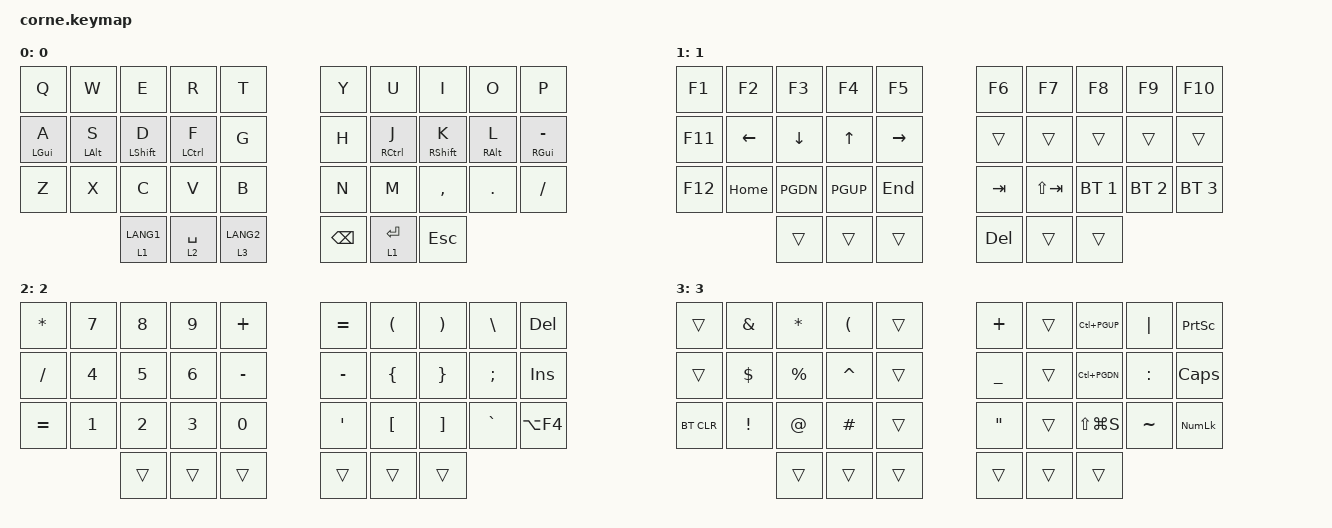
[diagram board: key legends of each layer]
/*
 * Copyright (c) 2020 The ZMK Contributors
 *
 * SPDX-License-Identifier: MIT
 */

#include <behaviors.dtsi>
#include <dt-bindings/zmk/keys.h>
#include <dt-bindings/zmk/bt.h>

/ {
    chosen {
        zmk,physical-layout = &foostan_corne_5col_layout;
    };

    behaviors {
    };
        keymap {
                compatible = "zmk,keymap";

                layer0 {
// -----------------------------------------------------------------------------------------
// | Q       | W       | E         | R        | T |     | Y | U        | I         | O       | P        |
// | A(LGUI) | S(LALT) | D(LSHIFT) | F(LCTRL) | G |     | H | J(RCTRL) | K(RSHIFT) | L(RALT) | -_(RGUI) | 
// | Z       | X       | C         | V        | B |     | N | M        | ,<        | .>      | /?       |
//  | LANG1(LAYER0) | SPC(LAYER1) | LANG2(LAYER3) |     | BSPC | ENTER(LAYER1) | ESC |
                        display-name = "0";
                        bindings = <
   &kp Q      &kp W      &kp E        &kp R       &kp T     &kp Y &kp U       &kp I        &kp O      &kp P
   &mt LGUI A &mt LALT S &mt LSHIFT D &mt LCTRL F &kp G     &kp H &mt RCTRL J &mt RSHIFT K &mt RALT L &mt RGUI MINUS
   &kp Z      &kp X      &kp C        &kp V       &kp B     &kp N &kp M       &kp COMMA    &kp DOT    &kp FSLH
                      &lt 1 LANG1 &lt 2 SPC &lt 3 LANG2     &kp BSPC &lt 1 ENTER &kp ESC
                        >;
                };

                layer1 {
// -----------------------------------------------------------------------------------------
// | F1  | F2   | F3     | F4   | F5    |     | F6   | F7    | F8   | F9   | F10  |
// | F11 | LEFT | DOWN   | UP   | RIGHT |     |      |       |      |      |      |
// | F12 | HOME | PGDN   | PGUP | END   |     | TAB  | S-TAB | BT_1 | BT_2 | BT_3 |
//              |        |      |       |     | DEL  |       |      |
                        display-name = "1";
                        bindings = <
   &kp F1  &kp F2   &kp F3     &kp F4   &kp F5           &kp F6    &kp F7       &kp F8       &kp F9       &kp F10
   &kp F11 &kp LEFT &kp DOWN   &kp UP   &kp RIGHT        &trans    &trans       &trans       &trans       &trans
   &kp F12 &kp HOME &kp PGDN   &kp PGUP &kp END          &kp TAB   &kp LS(TAB)  &bt BT_SEL 1 &bt BT_SEL 2 &bt BT_SEL 3
                           &trans &trans &trans          &kp DEL &trans &trans
                        >;
                };

                layer2 {
// -----------------------------------------------------------------------------------------
// | * | 7 | 8 | 9 | + |     | = | ( | ) | \ | DEL  |
// | / | 4 | 5 | 6 | - |     | - | { | } | ; | INS  |
// | = | 1 | 2 | 3 | 0 |     | ' | [ | ] | ` | A-F4 |
//         |   |   |   |     |   |   |   |
                        display-name = "2";
                        bindings = <
   &kp STAR  &kp 7 &kp 8 &kp 9 &kp PLUS       &kp EQUAL &kp LPAR &kp RPAR &kp BSLH  &kp DEL
   &kp FSLH  &kp 4 &kp 5 &kp 6 &kp MINUS      &kp MINUS &kp LBRC &kp RBRC &kp SEMI  &kp INS
   &kp EQUAL &kp 1 &kp 2 &kp 3 &kp 0          &kp SQT   &kp LBKT &kp RBKT &kp GRAVE &kp LA(F4)
                 &trans &trans &trans         &trans &trans &trans
                        >;
                };

                layer3 {
// -----------------------------------------------------------------------------------------
// |        | & | * | ( |   |     | + | MACRO1 | C-PGUP    | | | PSCRN  |
// |        | $ | % | ^ |   |     | _ | MACRO2 | C-PGDN    | : | CLCK   |
// | BT_CLR | ! | @ | # |   |     | " | MACRO3 | LS(LG(S)) | ~ | KP_NUM |
//              |   |   |   |     |   |   |   |
                        display-name = "3";
                        bindings = <
   &trans     &kp AMPS &kp STAR  &kp LPAR  &trans    &kp PLUS  &trans &kp LC(PGUP)   &kp PIPE  &kp PSCRN
   &trans     &kp DLLR &kp PRCNT &kp CARET &trans    &kp UNDER &trans &kp LC(PGDN)   &kp COLON &kp CLCK
   &bt BT_CLR &kp EXCL &kp AT    &kp HASH  &trans    &kp DQT   &trans &kp LS(LG(S))  &kp TILDE &kp KP_NUM
                         &trans &trans &trans    &trans &trans &trans
                        >;
                };

                extra_1 {
                        status = "reserved";
                };

                extra_2 {
                        status = "reserved";
                };

                extra_3 {
                        status = "reserved";
                };
        };
};
